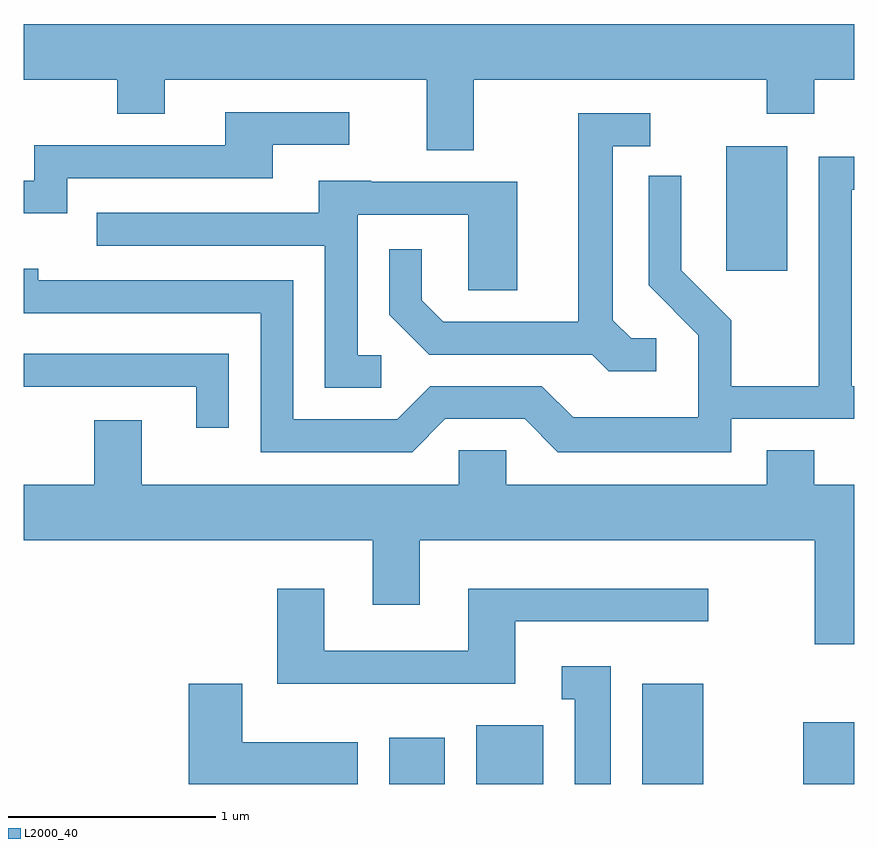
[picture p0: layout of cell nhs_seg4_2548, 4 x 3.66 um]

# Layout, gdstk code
import gdstk
lib = gdstk.Library(unit=1e-6, precision=1e-09)
def R(c, l, rs):  # rectangles x0, y0, x1, y1
    for r in rs: c.add(gdstk.rectangle(r[:2], r[2:], *l))
def P(c, l, *ps):  # polygons
    for p in ps: c.add(gdstk.Polygon(p, *l))
L2000_40 = (2000, 40)

nhs_seg4_2548 = lib.new_cell('nhs_seg4_2548')
R(nhs_seg4_2548, L2000_40, [(261.371,1317.982,261.639,1318.204), (261.791,1317.982,262.114,1318.264), (262.591,1317.982,262.884,1318.464), (263.366,1317.982,263.611,1318.279), (262.996,1320.456,263.289,1321.054)])
P(nhs_seg4_2548, L2000_40, [(261.779,1321.376),(263.191,1321.376),(263.191,1321.211),(263.419,1321.211),(263.419,1321.376),(263.611,1321.376),(263.611,1321.644),(259.611,1321.644),(259.611,1321.376),(260.061,1321.376),(260.061,1321.211),(260.289,1321.211),(260.289,1321.376),(261.551,1321.376),(261.551,1321.036),(261.779,1321.036)],
  [(259.819,1320.901),(260.809,1320.901),(260.809,1321.061),(261.178,1321.061),(261.178,1321.219),(260.581,1321.219),(260.581,1321.059),(259.661,1321.059),(259.661,1320.889),(259.611,1320.889),(259.611,1320.731),(259.819,1320.731)],
  [(262.658,1320.129),(262.537,1320.129),(262.449,1320.217),(262.449,1321.056),(262.628,1321.056),(262.628,1321.214),(262.281,1321.214),(262.281,1320.209),(261.632,1320.209),(261.529,1320.312),(261.529,1320.558),(261.371,1320.558),(261.371,1320.244),(261.564,1320.051),(262.349,1320.051),(262.429,1319.971),(262.658,1319.971)],
  [(261.642,1319.741),(262.024,1319.741),(262.184,1319.581),(263.019,1319.581),(263.019,1319.741),(263.611,1319.741),(263.611,1319.899),(263.599,1319.899),(263.599,1320.846),(263.611,1320.846),(263.611,1321.004),(263.441,1321.004),(263.441,1319.899),(263.019,1319.899),(263.019,1320.217),(262.779,1320.457),(262.779,1320.913),(262.621,1320.913),(262.621,1320.384),(262.861,1320.144),(262.861,1319.749),(262.257,1319.749),(262.106,1319.899),(261.569,1319.899),(261.409,1319.739),(260.909,1319.739),(260.909,1320.409),(259.679,1320.409),(259.679,1320.464),(259.611,1320.464),(259.611,1320.251),(260.751,1320.251),(260.751,1319.581),(261.481,1319.581)],
  [(261.332,1320.049),(261.219,1320.049),(261.219,1320.726),(261.751,1320.726),(261.751,1320.361),(261.989,1320.361),(261.989,1320.884),(261.285,1320.884),(261.285,1320.889),(261.031,1320.889),(261.031,1320.734),(259.962,1320.734),(259.962,1320.576),(261.061,1320.576),(261.061,1319.891),(261.332,1319.891)],
  [(260.599,1320.054),(259.611,1320.054),(259.611,1319.896),(260.441,1319.896),(260.441,1319.698),(260.599,1319.698)],
  [(263.611,1319.424),(263.419,1319.424),(263.419,1319.589),(263.191,1319.589),(263.191,1319.424),(261.934,1319.424),(261.934,1319.589),(261.706,1319.589),(261.706,1319.424),(260.179,1319.424),(260.179,1319.734),(259.951,1319.734),(259.951,1319.424),(259.611,1319.424),(259.611,1319.156),(261.291,1319.156),(261.291,1318.846),(261.519,1318.846),(261.519,1319.156),(263.421,1319.156),(263.421,1318.656),(263.611,1318.656)],
  [(261.979,1318.766),(262.908,1318.766),(262.908,1318.924),(261.751,1318.924),(261.751,1318.624),(261.059,1318.624),(261.059,1318.924),(260.831,1318.924),(260.831,1318.466),(261.979,1318.466)],
  [(262.439,1318.549),(262.203,1318.549),(262.203,1318.391),(262.266,1318.391),(262.266,1317.982),(262.439,1317.982)],
  [(261.219,1318.184),(260.664,1318.184),(260.664,1318.464),(260.406,1318.464),(260.406,1317.982),(261.219,1317.982)])

lib.write_gds('nhs_seg4_2548.gds')
